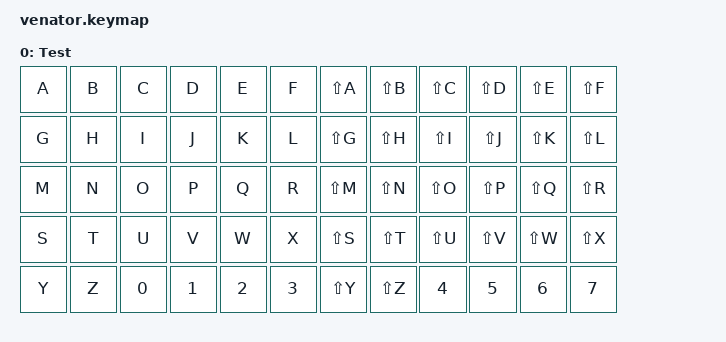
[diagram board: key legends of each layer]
#include <behaviors.dtsi>
#include <dt-bindings/zmk/keys.h>

/ {
    keymap {
        compatible = "zmk,keymap";

        test_layer {
            display-name = "Test";
            bindings = <
&kp A      &kp B      &kp C      &kp D      &kp E      &kp F        &kp LS(A)  &kp LS(B)  &kp LS(C)  &kp LS(D)  &kp LS(E)  &kp LS(F)
&kp G      &kp H      &kp I      &kp J      &kp K      &kp L        &kp LS(G)  &kp LS(H)  &kp LS(I)  &kp LS(J)  &kp LS(K)  &kp LS(L)
&kp M      &kp N      &kp O      &kp P      &kp Q      &kp R        &kp LS(M)  &kp LS(N)  &kp LS(O)  &kp LS(P)  &kp LS(Q)  &kp LS(R)
&kp S      &kp T      &kp U      &kp V      &kp W      &kp X        &kp LS(S)  &kp LS(T)  &kp LS(U)  &kp LS(V)  &kp LS(W)  &kp LS(X)
&kp Y      &kp Z      &kp N0     &kp N1     &kp N2     &kp N3       &kp LS(Y)  &kp LS(Z)  &kp N4     &kp N5     &kp N6     &kp N7
            >;
        };
    };
};
